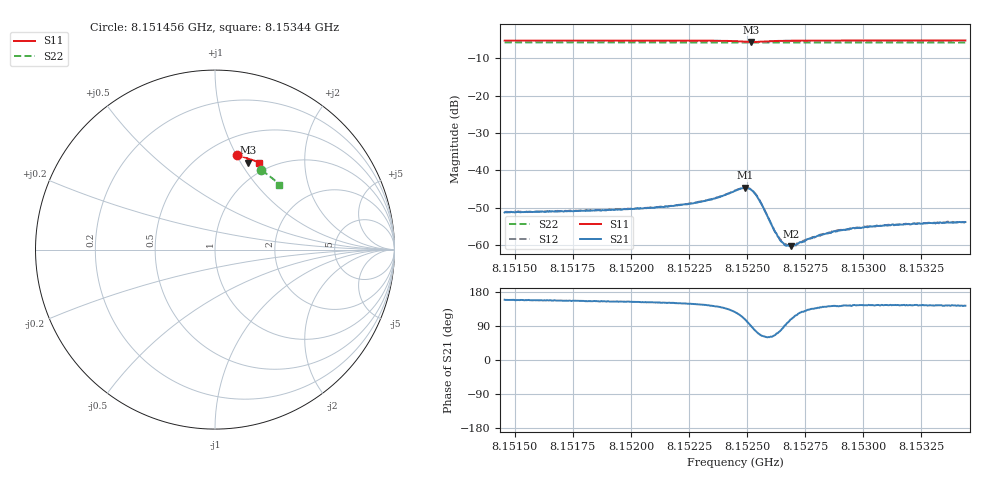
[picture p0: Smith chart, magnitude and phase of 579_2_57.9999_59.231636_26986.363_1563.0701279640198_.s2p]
#  HZ  S  RI  R  50.00
! Rohde & Schwarz Vector Network Analyzer
! Rohde-Schwarz,ZNB20-2Port,1311601062101988,3.16
! Created: UTC 3/21/2024, 1:16:14 AM
! freq[Hz]  re:S11  im:S11  re:S21  im:S21  re:S12  im:S12  re:S22  im:S22
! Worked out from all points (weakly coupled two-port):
!   401 points, 8.151456 GHz to 8.15344 GHz, reference 50 ohm
!   highest |S21| = -44.60 dB at 8.152493 GHz (marker M1); lowest = -60.2 dB at 8.152691 GHz (marker M2)
!   lowest |S11| = -5.7 dB at 8.152518 GHz (marker M3), VSWR 3.15, Z = 40.7 + j53.8 ohm
!   |S11| at or under -10 dB: nowhere
!   |S22| runs from -5.9 to -5.8 dB; largest |S21 - S12| = 0.00015
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8.1514564e9  0.1212 0.5261  -0.00256 0.000982  -0.00258 0.00106  0.2585 0.4413
8.1517886e9  0.1444 0.5208  -0.00264 0.00119  -0.00265 0.00122  0.2765 0.4298
8.1521209e9  0.1679 0.5138  -0.00287 0.00154  -0.00286 0.00158  0.2939 0.4173
8.1522498e9  0.1779 0.51  -0.00306 0.00187  -0.00305 0.00194  0.3006 0.4124
8.1523193e9  0.1836 0.5071  -0.00323 0.00224  -0.00323 0.00228  0.3042 0.4096
8.1523738e9  0.1885 0.5036  -0.00338 0.00275  -0.00336 0.00282  0.3069 0.4074
8.1524482e9  0.1938 0.4946  -0.00319 0.00429  -0.00316 0.00439  0.3104 0.4042
8.1524929e9  0.1908 0.4857  -0.00165 0.00565  -0.00159 0.00566  0.3124 0.4022
8.1525177e9  0.1842 0.484  1.67e-05 0.00553  9.84e-05 0.00556  0.3133 0.4014
8.1525325e9  0.1805 0.4859  0.00093 0.00488  0.000966 0.00496  0.3139 0.4008
8.1525524e9  0.1781 0.4904  0.00149 0.00376  0.00155 0.0038  0.3147 0.4003
8.1526218e9  0.1844 0.5011  0.0006 0.00137  0.000611 0.00137  0.3184 0.3979
8.1526416e9  0.1869 0.5021  0.000284 0.00115  0.000302 0.00118  0.3193 0.3972
8.1526615e9  0.1895 0.5023  -9.5e-06 0.00101  1.81e-05 0.00103  0.3205 0.3964
8.1526912e9  0.1928 0.5025  -0.000304 0.000928  -0.000309 0.000938  0.322 0.395
8.1527011e9  0.1939 0.5025  -0.000393 0.000931  -0.000409 0.000904  0.3226 0.3947
8.1527507e9  0.1987 0.5018  -0.000742 0.000889  -0.000748 0.000917  0.3248 0.3928
8.1527805e9  0.2013 0.5012  -0.000883 0.000879  -0.000915 0.000906  0.3264 0.3913
8.1528946e9  0.2105 0.4986  -0.00124 0.00098  -0.00127 0.000978  0.3321 0.3866
8.152964e9  0.2156 0.4968  -0.00139 0.000965  -0.00136 0.00102  0.3353 0.3836
8.1531128e9  0.2259 0.4927  -0.00152 0.00107  -0.00152 0.00108  0.3421 0.3773
8.1534401e9  0.2472 0.4831  -0.00164 0.00123  -0.00165 0.00124  0.3569 0.3626
